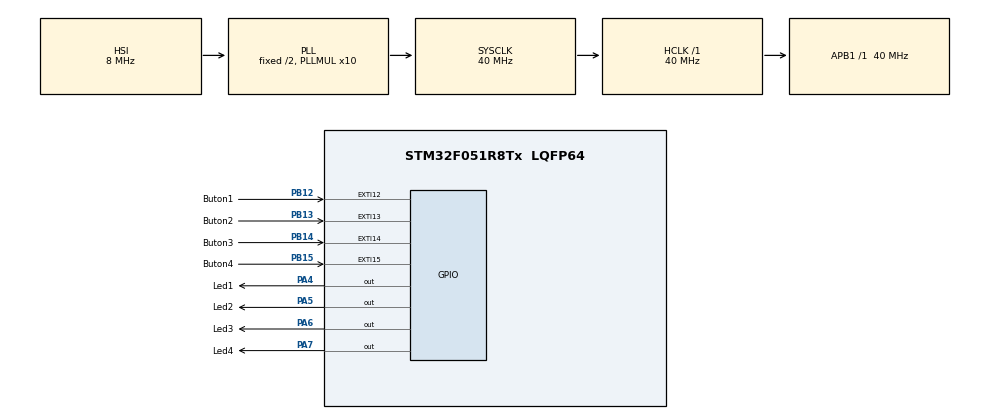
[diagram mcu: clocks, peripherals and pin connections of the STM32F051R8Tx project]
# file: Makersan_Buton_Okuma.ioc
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Mcu.Family=STM32F0
Mcu.Name=STM32F051R8Tx
Mcu.Package=LQFP64
NVIC.EXTI4_15_IRQn=true\:0\:0\:false\:false\:true\:true\:true\:true
PA13.Mode=Serial_Wire
PA13.Signal=SYS_SWDIO
PA14.Mode=Serial_Wire
PA14.Signal=SYS_SWCLK
PA4.GPIO_Label=Led1
PA4.Signal=GPIO_Output
PA5.GPIO_Label=Led2
PA5.Signal=GPIO_Output
PA6.GPIO_Label=Led3
PA6.Signal=GPIO_Output
PA7.GPIO_Label=Led4
PA7.Signal=GPIO_Output
PB12.GPIO_Label=Buton1
PB12.GPIO_PuPd=GPIO_PULLDOWN
PB12.Signal=GPXTI12
PB13.GPIO_Label=Buton2
PB13.GPIO_PuPd=GPIO_PULLDOWN
PB13.Signal=GPXTI13
PB14.GPIO_Label=Buton3
PB14.GPIO_PuPd=GPIO_PULLDOWN
PB14.Signal=GPXTI14
PB15.GPIO_Label=Buton4
PB15.GPIO_PuPd=GPIO_PULLDOWN
PB15.Signal=GPXTI15
ProjectManager.HeapSize=0x200
ProjectManager.StackSize=0x400
ProjectManager.TargetToolchain=STM32CubeIDE
RCC.AHBFreq_Value=40000000
RCC.APB1Freq_Value=40000000
RCC.APB1TimFreq_Value=40000000
RCC.HCLKFreq_Value=40000000
RCC.PLLMUL=RCC_PLL_MUL10
RCC.SYSCLKFreq_VALUE=40000000
RCC.SYSCLKSource=RCC_SYSCLKSOURCE_PLLCLK
board=custom

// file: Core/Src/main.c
/* USER CODE BEGIN Header */
/**
  ******************************************************************************
  * @file           : main.c
  * @brief          : Main program body
  ******************************************************************************
  * @attention
  *
  * Copyright (c) 2024 STMicroelectronics.
  * All rights reserved.
  *
  * This software is licensed under terms that can be found in the LICENSE file
  * in the root directory of this software component.
  * If no LICENSE file comes with this software, it is provided AS-IS.
  *
  ******************************************************************************
  */
/* USER CODE END Header */
#include "main.h"

/* USER CODE BEGIN Includes */
#include "stm32f0xx_hal_gpio.h"
/* USER CODE END Includes */

/* USER CODE BEGIN PD */
#define DEBOUNCING_TIME_MS		30
/* USER CODE END PD */

/* USER CODE BEGIN PV */
uint8_t Button_State[BUTTON_COUNT];
volatile uint8_t Button_Pressed[BUTTON_COUNT];

uint16_t Button_Pins[BUTTON_COUNT] = {Buton1_Pin, Buton2_Pin, Buton3_Pin, Buton4_Pin};
volatile uint16_t Debouncing_Counter[BUTTON_COUNT];
/* USER CODE END PV */

void SystemClock_Config(void);
static void MX_GPIO_Init(void);

int main(void)
{

  /* USER CODE BEGIN 1 */
  uint8_t btn = 0;
  for (btn = 0; btn < BUTTON_COUNT; btn++)
  {
	  Button_Pressed[btn] = 0;
  	  Button_State[btn] = RESET;
	  Debouncing_Counter[btn] = 0;
  }
  /* USER CODE END 1 */

  /* MCU Configuration--------------------------------------------------------*/

  /* Reset of all peripherals, Initializes the Flash interface and the Systick. */
  HAL_Init();

  /* Configure the system clock */
  SystemClock_Config();

  /* Initialize all configured peripherals */
  MX_GPIO_Init();

  /* Infinite loop */
  while (1)
  {

    /* USER CODE BEGIN 3 */
	  for (btn=0; btn< BUTTON_COUNT;btn++)
	  {
		  if ((Button_Pressed[btn] == 1) && (Debouncing_Counter[btn] == 0))	// Eğer butona basılmışsa ve debouncing süresi dolmuşsa
		  {
			  Button_Pressed[btn] = 0;

			  if (HAL_GPIO_ReadPin(BUTTON_PORT, Button_Pins[btn]))	// Butonun hala basılı olup olmadığını kontrol et.
			  {
				  Button_State[btn] = SET;							// Eğer buton hala basılıysa buton datasını SET yap.
			  }
		  }

		  else if (Button_State[btn] && HAL_GPIO_ReadPin(BUTTON_PORT, Button_Pins[btn]))	// Eğer debouncing süresi dolmuşsa ve hala butona basılıyorsa
		  {
			  Button_State[btn] = SET;														// Buton datası SET olarak devam eder.
		  }

		  else 								// Eğer buton bırakılmışsa
		  {
			  Button_State[btn] = RESET;	// Buton datasını RESET yap.
		  }
	  }

	  HAL_GPIO_WritePin(LED_PORT, Led1_Pin, (GPIO_PinState)Button_State[0]);
	  HAL_GPIO_WritePin(LED_PORT, Led2_Pin, (GPIO_PinState)Button_State[1]);
	  HAL_GPIO_WritePin(LED_PORT, Led3_Pin, (GPIO_PinState)Button_State[2]);
	  HAL_GPIO_WritePin(LED_PORT, Led4_Pin, (GPIO_PinState)Button_State[3]);
  }
  /* USER CODE END 3 */
}

void SystemClock_Config(void)
{
  RCC_OscInitTypeDef RCC_OscInitStruct = {0};
  RCC_ClkInitTypeDef RCC_ClkInitStruct = {0};

  /** Initializes the RCC Oscillators according to the specified parameters
  * in the RCC_OscInitTypeDef structure.
  */
  RCC_OscInitStruct.OscillatorType = RCC_OSCILLATORTYPE_HSI;
  RCC_OscInitStruct.HSIState = RCC_HSI_ON;
  RCC_OscInitStruct.HSICalibrationValue = RCC_HSICALIBRATION_DEFAULT;
  RCC_OscInitStruct.PLL.PLLState = RCC_PLL_ON;
  RCC_OscInitStruct.PLL.PLLSource = RCC_PLLSOURCE_HSI;
  RCC_OscInitStruct.PLL.PLLMUL = RCC_PLL_MUL10;
  RCC_OscInitStruct.PLL.PREDIV = RCC_PREDIV_DIV1;
  if (HAL_RCC_OscConfig(&RCC_OscInitStruct) != HAL_OK)
  {
    Error_Handler();
  }

  /** Initializes the CPU, AHB and APB buses clocks
  */
  RCC_ClkInitStruct.ClockType = RCC_CLOCKTYPE_HCLK|RCC_CLOCKTYPE_SYSCLK
                              |RCC_CLOCKTYPE_PCLK1;
  RCC_ClkInitStruct.SYSCLKSource = RCC_SYSCLKSOURCE_PLLCLK;
  RCC_ClkInitStruct.AHBCLKDivider = RCC_SYSCLK_DIV1;
  RCC_ClkInitStruct.APB1CLKDivider = RCC_HCLK_DIV1;

  if (HAL_RCC_ClockConfig(&RCC_ClkInitStruct, FLASH_LATENCY_1) != HAL_OK)
  {
    Error_Handler();
  }
}

static void MX_GPIO_Init(void)
{
  GPIO_InitTypeDef GPIO_InitStruct = {0};

  /* GPIO Ports Clock Enable */
  __HAL_RCC_GPIOA_CLK_ENABLE();
  __HAL_RCC_GPIOB_CLK_ENABLE();

  /*Configure GPIO pin Output Level */
  HAL_GPIO_WritePin(GPIOA, Led1_Pin|Led2_Pin|Led3_Pin|Led4_Pin, GPIO_PIN_RESET);

  /*Configure GPIO pins : Led1_Pin Led2_Pin Led3_Pin Led4_Pin */
  GPIO_InitStruct.Pin = Led1_Pin|Led2_Pin|Led3_Pin|Led4_Pin;
  GPIO_InitStruct.Mode = GPIO_MODE_OUTPUT_PP;
  GPIO_InitStruct.Pull = GPIO_NOPULL;
  GPIO_InitStruct.Speed = GPIO_SPEED_FREQ_LOW;
  HAL_GPIO_Init(GPIOA, &GPIO_InitStruct);

  /*Configure GPIO pins : Buton1_Pin Buton2_Pin Buton3_Pin Buton4_Pin */
  GPIO_InitStruct.Pin = Buton1_Pin|Buton2_Pin|Buton3_Pin|Buton4_Pin;
  GPIO_InitStruct.Mode = GPIO_MODE_IT_RISING;
  GPIO_InitStruct.Pull = GPIO_PULLDOWN;
  HAL_GPIO_Init(GPIOB, &GPIO_InitStruct);

  /* EXTI interrupt init*/
  HAL_NVIC_SetPriority(EXTI4_15_IRQn, 0, 0);
  HAL_NVIC_EnableIRQ(EXTI4_15_IRQn);

}

/* USER CODE BEGIN 4 */
void HAL_GPIO_EXTI_Callback(uint16_t GPIO_Pin)
{
	for (uint8_t btn = 0; btn < BUTTON_COUNT; btn++)
	{
		if (Button_Pins[btn] == GPIO_Pin)
		{
			Button_Pressed[btn] = 1;
			Debouncing_Counter[btn] = DEBOUNCING_TIME_MS;
		}
	}
}
/* USER CODE END 4 */

void Error_Handler(void)
{
  __disable_irq();
  while (1)
  {
  }
}
